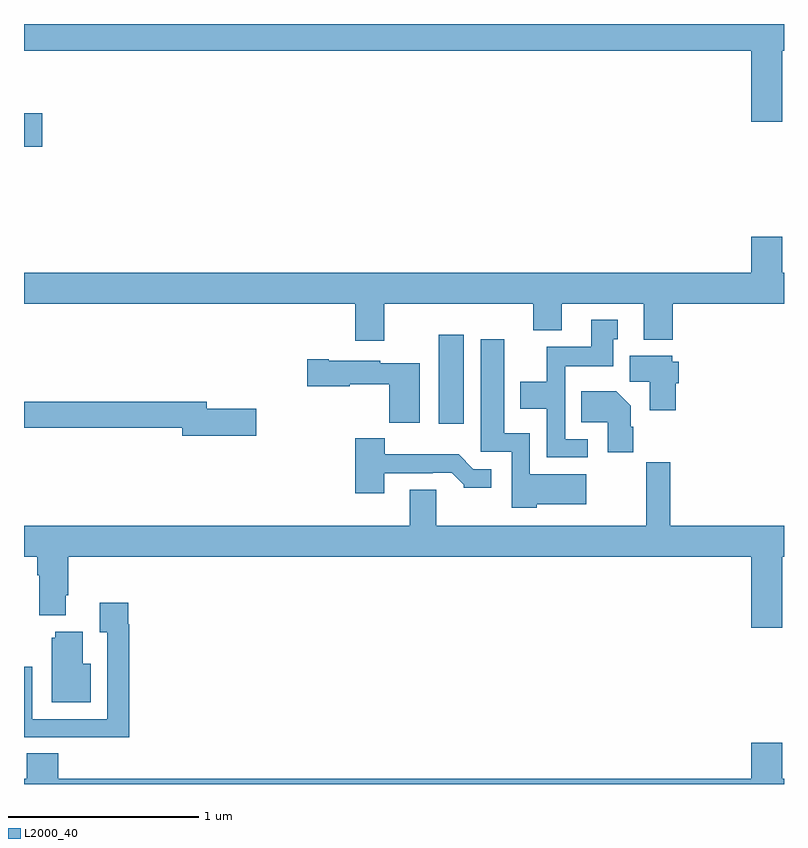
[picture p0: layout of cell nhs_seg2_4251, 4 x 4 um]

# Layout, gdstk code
import gdstk
lib = gdstk.Library(unit=1e-6, precision=1e-09)
def R(c, l, rs):  # rectangles x0, y0, x1, y1
    for r in rs: c.add(gdstk.rectangle(r[:2], r[2:], *l))
def P(c, l, *ps):  # polygons
    for p in ps: c.add(gdstk.Polygon(p, *l))
L2000_40 = (2000, 40)

nhs_seg2_4251 = lib.new_cell('nhs_seg2_4251')
R(nhs_seg2_4251, L2000_40, [(343.184,621.696,343.315,622.165), (341,623.153,341.095,623.331)])
P(nhs_seg2_4251, L2000_40, [(344.992,623.66),(345,623.66),(345,623.8),(341,623.8),(341,623.66),(344.828,623.66),(344.828,623.286),(344.992,623.286)],
  [(342.895,622.328),(343.679,622.328),(343.679,622.187),(343.831,622.187),(343.831,622.328),(344.261,622.328),(344.261,622.139),(344.414,622.139),(344.414,622.328),(345,622.328),(345,622.492),(344.992,622.492),(344.992,622.681),(344.828,622.681),(344.828,622.492),(341,622.492),(341,622.328),(342.743,622.328),(342.743,622.134),(342.895,622.134)],
  [(343.966,621.615),(343.848,621.615),(343.848,621.998),(344.101,621.998),(344.101,622.14),(344.125,622.14),(344.125,622.243),(343.985,622.243),(343.985,622.102),(343.75,622.102),(343.75,621.916),(343.613,621.916),(343.613,621.776),(343.752,621.776),(343.752,621.519),(343.966,621.519)],
  [(343.698,621.272),(343.96,621.272),(343.96,621.43),(343.662,621.43),(343.662,621.646),(343.528,621.646),(343.528,622.141),(343.403,622.141),(343.403,621.549),(343.566,621.549),(343.566,621.254),(343.698,621.254)],
  [(344.429,621.909),(344.447,621.909),(344.447,622.023),(344.412,622.023),(344.412,622.054),(344.189,622.054),(344.189,621.916),(344.294,621.916),(344.294,621.768),(344.429,621.768)],
  [(343.084,622.015),(342.876,622.015),(342.876,622.027),(342.604,622.027),(342.604,622.035),(342.492,622.035),(342.492,621.893),(342.714,621.893),(342.714,621.905),(342.922,621.905),(342.922,621.701),(343.084,621.701)],
  [(344.207,621.68),(344.194,621.68),(344.194,621.79),(344.116,621.868),(343.933,621.868),(343.933,621.704),(344.072,621.704),(344.072,621.546),(344.207,621.546)],
  [(342.223,621.776),(341.962,621.776),(341.962,621.812),(341,621.812),(341,621.676),(341.834,621.676),(341.834,621.634),(342.223,621.634)],
  [(342.895,621.435),(343.151,621.435),(343.151,621.438),(343.25,621.438),(343.314,621.374),(343.314,621.359),(343.459,621.359),(343.459,621.456),(343.365,621.456),(343.287,621.535),(342.898,621.535),(342.898,621.619),(342.743,621.619),(342.743,621.33),(342.895,621.33)],
  [(344.992,620.996),(345,620.996),(345,621.16),(344.402,621.16),(344.402,621.493),(344.274,621.493),(344.274,621.16),(343.171,621.16),(343.171,621.35),(343.031,621.35),(343.031,621.16),(341,621.16),(341,620.996),(341.069,620.996),(341.069,620.9),(341.081,620.9),(341.081,620.687),(341.221,620.687),(341.221,620.794),(341.234,620.794),(341.234,620.996),(344.828,620.996),(344.828,620.622),(344.992,620.622)],
  [(341.555,620.642),(341.548,620.642),(341.548,620.755),(341.399,620.755),(341.399,620.599),(341.439,620.599),(341.439,620.142),(341.043,620.142),(341.043,620.416),(341,620.416),(341,620.046),(341.263,620.046),(341.263,620.045),(341.555,620.045)],
  [(341.35,620.434),(341.308,620.434),(341.308,620.602),(341.165,620.602),(341.165,620.571),(341.147,620.571),(341.147,620.231),(341.35,620.231)],
  [(345,619.828),(344.992,619.828),(344.992,620.017),(344.828,620.017),(344.828,619.828),(341.18,619.828),(341.18,619.961),(341.015,619.961),(341.015,619.828),(341,619.828),(341,619.8),(345,619.8)])

lib.write_gds('nhs_seg2_4251.gds')
